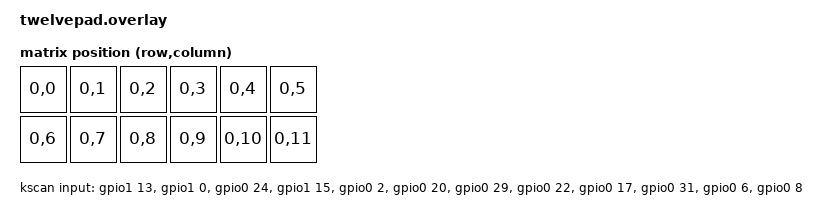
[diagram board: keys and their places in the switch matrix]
// twelvepad - 12 keys, direct GPIO (no matrix, no diodes) + nice!view + low battery LED
// Each switch connects between its GPIO pin and GND (internal pull-up).

#include <dt-bindings/zmk/matrix_transform.h>
#include <zephyr/dt-bindings/pinctrl/nrf-pinctrl.h>

#include "twelvepad-layouts.dtsi"

/ {
    chosen {
        zmk,physical-layout = &default_layout;
    };

    kscan: kscan {
        compatible = "zmk,kscan-gpio-direct";
        wakeup-source;

        // Key order = SW1 .. SW12 (top to bottom); must match twelvepad.keymap
        input-gpios
            = <&gpio1 13 (GPIO_ACTIVE_LOW | GPIO_PULL_UP)>  // SW1  P1.13  "1"
            , <&gpio1  0 (GPIO_ACTIVE_LOW | GPIO_PULL_UP)>  // SW2  P1.00  "2"
            , <&gpio0 24 (GPIO_ACTIVE_LOW | GPIO_PULL_UP)>  // SW3  P0.24  "3"
            , <&gpio1 15 (GPIO_ACTIVE_LOW | GPIO_PULL_UP)>  // SW4  P1.15  "4"
            , <&gpio0  2 (GPIO_ACTIVE_LOW | GPIO_PULL_UP)>  // SW5  P0.02  UP
            , <&gpio0 20 (GPIO_ACTIVE_LOW | GPIO_PULL_UP)>  // SW6  P0.20  RIGHT
            , <&gpio0 29 (GPIO_ACTIVE_LOW | GPIO_PULL_UP)>  // SW7  P0.29  DOWN
            , <&gpio0 22 (GPIO_ACTIVE_LOW | GPIO_PULL_UP)>  // SW8  P0.22  LEFT
            , <&gpio0 17 (GPIO_ACTIVE_LOW | GPIO_PULL_UP)>  // SW9  P0.17  ENTER
            , <&gpio0 31 (GPIO_ACTIVE_LOW | GPIO_PULL_UP)>  // SW10 P0.31  SPACE
            , <&gpio0  6 (GPIO_ACTIVE_LOW | GPIO_PULL_UP)>  // SW11 P0.06  Z
            , <&gpio0  8 (GPIO_ACTIVE_LOW | GPIO_PULL_UP)>  // SW12 P0.08  X
            ;
    };

    default_transform: default_transform {
        // Direct GPIO is reported as a single row, one column per pin.
        compatible = "zmk,matrix-transform";
        columns = <12>;
        rows = <1>;

        map = <
            RC(0, 0) RC(0, 1) RC(0, 2)  RC(0, 3)  RC(0, 4)  RC(0, 5)
            RC(0, 6) RC(0, 7) RC(0, 8)  RC(0, 9)  RC(0, 10) RC(0, 11)
        >;
    };

    // Setup mode behavior (see src/setup_mode.c, used as &sm in the keymap)
    // + low battery LED (P0.15, the onboard LED, active high).
    sm: setup_mode {
        compatible = "zmk,behavior-setup-mode";
        #binding-cells = <1>;
        lowbat-gpios = <&gpio0 15 GPIO_ACTIVE_HIGH>;  // LED_LOWBAT P0.15
    };

    // No "zmk,soft-off-wakeup-sources" node on purpose: after a soft off nothing
    // wakes the keyboard except the reset button (lowest power).
    // Deep sleep (CONFIG_ZMK_SLEEP) still wakes on any key through the
    // `wakeup-source` property of the kscan above.
};

// ---------------------------------------------------------------------------
// nice!view on its own SPI bus (the ZMK nice_view shield needs "nice_view_spi"):
//   CS   = P0.11   SCK = P1.11   MOSI = P0.10   (MISO not used)
//   VCC -> nice!nano VCC pin, GND -> GND
// P0.09 / P0.10 are NFC pins: CONFIG_NFCT_PINS_AS_GPIOS=y is required (see .conf).
// ---------------------------------------------------------------------------
&pinctrl {
    spi2_niceview_default: spi2_niceview_default {
        group1 {
            psels = <NRF_PSEL(SPIM_SCK, 1, 11)>,
                    <NRF_PSEL(SPIM_MOSI, 0, 10)>;
        };
    };

    spi2_niceview_sleep: spi2_niceview_sleep {
        group1 {
            psels = <NRF_PSEL(SPIM_SCK, 1, 11)>,
                    <NRF_PSEL(SPIM_MOSI, 1, 10)>;
            low-power-enable;
        };
    };
};

nice_view_spi: &spi2 {
    compatible = "nordic,nrf-spim";
    status = "okay";
    pinctrl-0 = <&spi2_niceview_default>;
    pinctrl-1 = <&spi2_niceview_sleep>;
    pinctrl-names = "default", "sleep";
    cs-gpios = <&gpio0 11 GPIO_ACTIVE_HIGH>;
};
